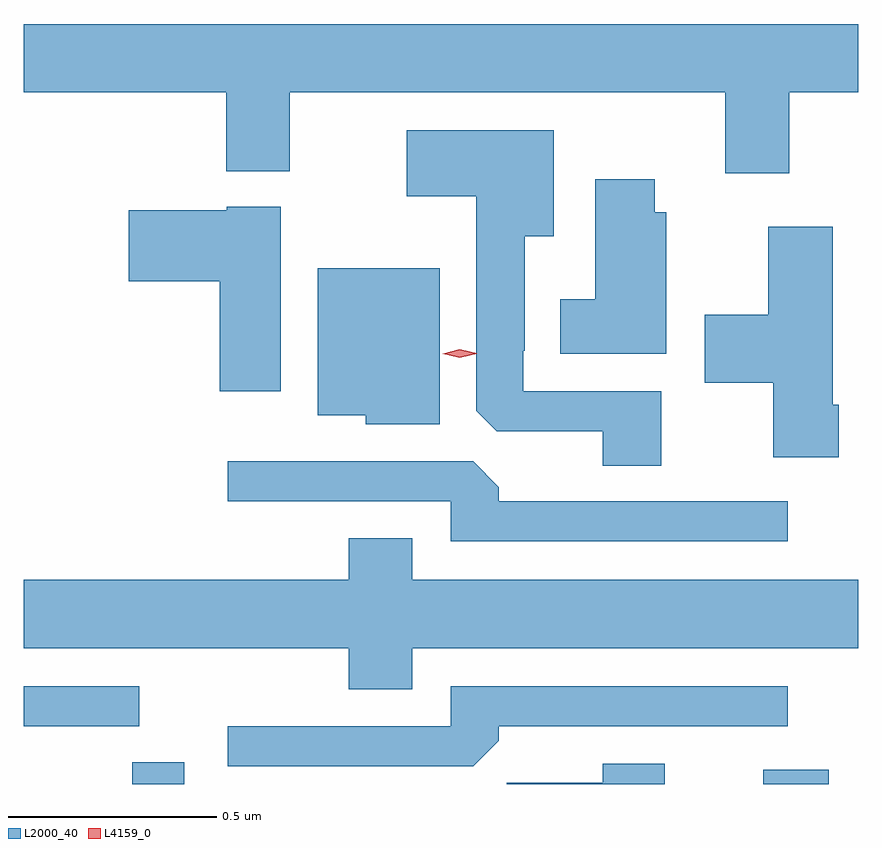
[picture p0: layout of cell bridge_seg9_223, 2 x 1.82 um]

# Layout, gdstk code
import gdstk
lib = gdstk.Library(unit=1e-6, precision=1e-09)
def R(c, l, rs):  # rectangles x0, y0, x1, y1
    for r in rs: c.add(gdstk.rectangle(r[:2], r[2:], *l))
def P(c, l, *ps):  # polygons
    for p in ps: c.add(gdstk.Polygon(p, *l))
L2000_40 = (2000, 40)
L4159_0 = (4159, 0)

bridge_seg9_223 = lib.new_cell('bridge_seg9_223')
R(bridge_seg9_223, L2000_40, [(240.842,1208.082,240.967,1208.134), (242.354,1208.082,242.512,1208.116), (240.582,1208.22,240.859,1208.316)])
P(bridge_seg9_223, L2000_40, [(242.417,1209.74),(242.582,1209.74),(242.582,1209.904),(240.582,1209.904),(240.582,1209.74),(241.067,1209.74),(241.067,1209.551),(241.219,1209.551),(241.219,1209.74),(242.264,1209.74),(242.264,1209.546),(242.417,1209.546)],
  [(242.11,1209.024),(241.779,1209.024),(241.779,1209.121),(241.783,1209.121),(241.783,1209.395),(241.852,1209.395),(241.852,1209.649),(241.5,1209.649),(241.5,1209.491),(241.667,1209.491),(241.667,1208.977),(241.716,1208.928),(241.97,1208.928),(241.97,1208.845),(242.11,1208.845)],
  [(242.122,1209.453),(242.095,1209.453),(242.095,1209.532),(241.952,1209.532),(241.952,1209.244),(241.868,1209.244),(241.868,1209.113),(242.122,1209.113)],
  [(241.198,1209.466),(241.068,1209.466),(241.068,1209.457),(240.834,1209.457),(240.834,1209.287),(241.052,1209.287),(241.052,1209.024),(241.198,1209.024)],
  [(242.536,1208.991),(242.521,1208.991),(242.521,1209.418),(242.366,1209.418),(242.366,1209.207),(242.214,1209.207),(242.214,1209.044),(242.378,1209.044),(242.378,1208.865),(242.536,1208.865)],
  [(241.579,1209.319),(241.286,1209.319),(241.286,1208.966),(241.401,1208.966),(241.401,1208.945),(241.579,1208.945)],
  [(242.413,1208.76),(241.721,1208.76),(241.721,1208.794),(241.659,1208.856),(241.071,1208.856),(241.071,1208.76),(241.605,1208.76),(241.605,1208.664),(242.413,1208.664)],
  [(241.513,1208.408),(242.582,1208.408),(242.582,1208.572),(241.513,1208.572),(241.513,1208.671),(241.361,1208.671),(241.361,1208.572),(240.582,1208.572),(240.582,1208.408),(241.361,1208.408),(241.361,1208.309),(241.513,1208.309)],
  [(241.721,1208.186),(241.721,1208.22),(242.413,1208.22),(242.413,1208.316),(241.605,1208.316),(241.605,1208.22),(241.071,1208.22),(241.071,1208.124),(241.659,1208.124)],
  [(242.119,1208.131),(241.97,1208.131),(241.97,1208.085),(241.74,1208.085),(241.74,1208.082),(242.119,1208.082)])
P(bridge_seg9_223, L4159_0, [(241.627,1209.104),(241.586,1209.114),(241.586,1209.114),(241.586,1209.114),(241.627,1209.124),(241.668,1209.115),(241.668,1209.114),(241.668,1209.114)])

lib.write_gds('bridge_seg9_223.gds')
